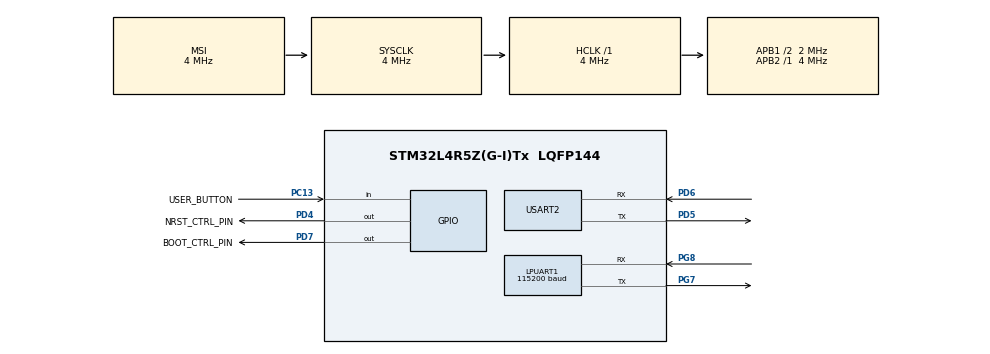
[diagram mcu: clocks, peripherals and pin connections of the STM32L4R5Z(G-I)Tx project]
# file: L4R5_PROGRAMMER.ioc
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LPUART1.BaudRate=115200
LPUART1.WordLength=UART_WORDLENGTH_8B
Mcu.Family=STM32L4
Mcu.Name=STM32L4R5Z(G-I)Tx
Mcu.Package=LQFP144
NVIC.PriorityGroup=NVIC_PRIORITYGROUP_4
PA13\ (JTMS/SWDIO).Mode=Trace_Asynchronous_SW
PA13\ (JTMS/SWDIO).Signal=SYS_JTMS-SWDIO
PA14\ (JTCK/SWCLK).Mode=Trace_Asynchronous_SW
PA14\ (JTCK/SWCLK).Signal=SYS_JTCK-SWCLK
PB3\ (JTDO/TRACESWO).Mode=Trace_Asynchronous_SW
PB3\ (JTDO/TRACESWO).Signal=SYS_JTDO-SWO
PC13.GPIO_Label=USER_BUTTON
PC13.Signal=GPIO_Input
PD4.GPIO_Label=NRST_CTRL_PIN
PD4.Signal=GPIO_Output
PD5.Mode=Asynchronous
PD5.Signal=USART2_TX
PD6.Mode=Asynchronous
PD6.Signal=USART2_RX
PD7.GPIO_Label=BOOT_CTRL_PIN
PD7.Signal=GPIO_Output
PG7.Mode=Asynchronous
PG7.Signal=LPUART1_TX
PG8.Mode=Asynchronous
PG8.Signal=LPUART1_RX
ProjectManager.HeapSize=0x200
ProjectManager.StackSize=0x400
ProjectManager.TargetToolchain=STM32CubeIDE
RCC.48MHZClocksFreq_Value=24000000
RCC.AHBFreq_Value=4000000
RCC.APB1CLKDivider=RCC_HCLK_DIV2
RCC.APB1Freq_Value=2000000
RCC.APB1TimFreq_Value=4000000
RCC.APB2Freq_Value=4000000
RCC.APB2TimFreq_Value=4000000
RCC.CortexFreq_Value=4000000
RCC.HCLKFreq_Value=4000000
RCC.HSE_VALUE=8000000
RCC.HSI48_VALUE=48000000
RCC.HSI_VALUE=16000000
RCC.LSE_VALUE=32768
RCC.MSI_VALUE=4000000
RCC.PLLMUL=RCC_PLL_MUL9
RCC.PRESCALERUSB=RCC_USBCLKSOURCE_PLL_DIV1_5
RCC.SYSCLKFreq_VALUE=4000000
RCC.SYSCLKSourceVirtual=RCC_SYSCLKSOURCE_PLLCLK
RCC.USBFreq_Value=16000000
RCC.VCOOutputFreq_Value=32000000
USART2.Parity=PARITY_EVEN
USART2.VirtualMode-Asynchronous=VM_ASYNC
USART2.WordLength=WORDLENGTH_9B
board=NUCLEO-L4R5ZI

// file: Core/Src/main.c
/* USER CODE BEGIN Header */
/**
  ******************************************************************************
  * @file           : main.c
  * @brief          : Main program body
  ******************************************************************************
  * @attention
  *
  * Copyright (c) 2023 STMicroelectronics.
  * All rights reserved.
  *
  * This software is licensed under terms that can be found in the LICENSE file
  * in the root directory of this software component.
  * If no LICENSE file comes with this software, it is provided AS-IS.
  *
  ******************************************************************************
  */
/* USER CODE END Header */
#include "main.h"
#include "usart.h"
#include "gpio.h"

/* USER CODE BEGIN Includes */
#include "bootloader.h"
#include "stdio.h"
/* USER CODE END Includes */

/* USER CODE BEGIN PM */
int __io_putchar(int ch) {
	HAL_UART_Transmit(&hlpuart1, (uint8_t *)&ch, 1, 100);
	return 0;
}
/* USER CODE END PM */

/* USER CODE BEGIN PV */
uint8_t RxBuffer[32];
stm32_cmd BootDataCmd;
/* USER CODE END PV */

void SystemClock_Config(void);
/* USER CODE BEGIN PFP */
void Boot_Process_Init (void);
/* USER CODE END PFP */

int main(void)
{

  /* MCU Configuration--------------------------------------------------------*/

  /* Reset of all peripherals, Initializes the Flash interface and the Systick. */
  HAL_Init();

  /* Configure the system clock */
  SystemClock_Config();

  /* Initialize all configured peripherals */
  MX_GPIO_Init();
  MX_USART2_UART_Init();
  MX_LPUART1_UART_Init();

  /* Infinite loop */
  /* USER CODE BEGIN WHILE */
  while (1)
  {
	  if (HAL_GPIO_ReadPin(GPIOC, GPIO_PIN_13) == GPIO_PIN_SET)
	  		{
	  			/* Calls Boot function to start programming */
	  			Boot_Process_Init();
	  		}
    /* USER CODE END WHILE */

  }
}

void SystemClock_Config(void)
{
  RCC_OscInitTypeDef RCC_OscInitStruct = {0};
  RCC_ClkInitTypeDef RCC_ClkInitStruct = {0};

  /** Configure the main internal regulator output voltage
  */
  if (HAL_PWREx_ControlVoltageScaling(PWR_REGULATOR_VOLTAGE_SCALE1) != HAL_OK)
  {
    Error_Handler();
  }

  /** Initializes the RCC Oscillators according to the specified parameters
  * in the RCC_OscInitTypeDef structure.
  */
  RCC_OscInitStruct.OscillatorType = RCC_OSCILLATORTYPE_MSI;
  RCC_OscInitStruct.MSIState = RCC_MSI_ON;
  RCC_OscInitStruct.MSICalibrationValue = 0;
  RCC_OscInitStruct.MSIClockRange = RCC_MSIRANGE_6;
  RCC_OscInitStruct.PLL.PLLState = RCC_PLL_NONE;
  if (HAL_RCC_OscConfig(&RCC_OscInitStruct) != HAL_OK)
  {
    Error_Handler();
  }

  /** Initializes the CPU, AHB and APB buses clocks
  */
  RCC_ClkInitStruct.ClockType = RCC_CLOCKTYPE_HCLK|RCC_CLOCKTYPE_SYSCLK
                              |RCC_CLOCKTYPE_PCLK1|RCC_CLOCKTYPE_PCLK2;
  RCC_ClkInitStruct.SYSCLKSource = RCC_SYSCLKSOURCE_MSI;
  RCC_ClkInitStruct.AHBCLKDivider = RCC_SYSCLK_DIV1;
  RCC_ClkInitStruct.APB1CLKDivider = RCC_HCLK_DIV2;
  RCC_ClkInitStruct.APB2CLKDivider = RCC_HCLK_DIV1;

  if (HAL_RCC_ClockConfig(&RCC_ClkInitStruct, FLASH_LATENCY_0) != HAL_OK)
  {
    Error_Handler();
  }
}

/* USER CODE BEGIN 4 */

void Boot_Process_Init (void)
{
	/* Local variables */
	uint32_t scan = 0xFFFFFFFF, counter = 0;
	uint32_t SIZE;

	printf("***System Boot demo***\r\n");

	/* Synchronize with target bootloader ###################################### */
	stm32_init(&huart2,&BootDataCmd);
	stm32_read_memory(&huart2, TARGET_OPB_START_ADDRESS, RxBuffer, 32);
	stm32_erase_memory(&huart2,EX_EMEM_COMMAND,1,0xFF);

	/* Verifies when scan variable achieved last data of the Image to be programmed */
	while (scan == 0xFFFFFFFF)
	{
		counter++;
		scan = *(uint32_t*)(FLASH_SIZE - (4*counter));
	}

	/* SIZE: Size of the image to be Programmed
	 * FLASH_SIZE: Host total flash size
	 * IMAGE_ADDRESS: Start address of the image to be Programmed
	 * FLASH_BASE:Host Flash start address
	 * (4*(Counter-1)): Represents the amount of FLASH to achieve the final data of the Image to be programmed
	 */
	SIZE = (FLASH_SIZE - (IMAGE_ADDRESS - FLASH_BASE) - ((counter)*4));

	/* Writes up to 256Bytes of memory, it can be from FLASH or RAM */
	for(uint16_t i = 0; i < SIZE; i+=256)
	{
		stm32_write_memory(&huart2, (TARGET_FLASH_START_ADDRESS+i), ((uint8_t*)IMAGE_ADDRESS+i), 256);
	}

	/* Reads up to 256Bytes of memory, it can be from FLASH or RAM */
	stm32_read_memory(&huart2, TARGET_FLASH_START_ADDRESS, RxBuffer, 32);

	/* Executes the downloaded code */
	stm32_go(&huart2, TARGET_FLASH_START_ADDRESS);
}
/* USER CODE END 4 */

void Error_Handler(void)
{
  __disable_irq();
  while (1)
  {
  }
}
